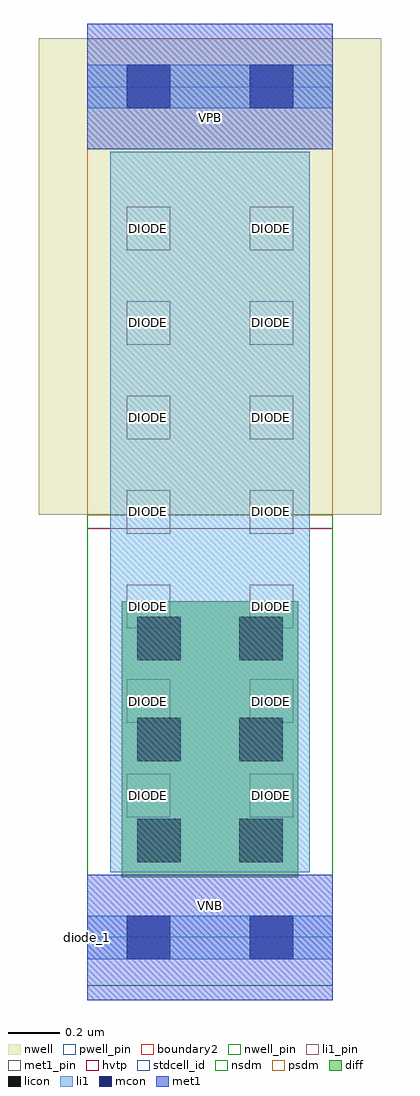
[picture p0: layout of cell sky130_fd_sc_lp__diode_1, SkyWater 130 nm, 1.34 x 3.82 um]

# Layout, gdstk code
import gdstk
lib = gdstk.Library(unit=1e-6, precision=1e-09)
def R(c, l, rs):  # rectangles x0, y0, x1, y1
    for r in rs: c.add(gdstk.rectangle(r[:2], r[2:], *l))
def A(c, l, x, y, w, h, nx, ny, dx, dy):  # array of equal rectangles
    R(c, l, [(x+i*dx, y+j*dy, x+i*dx+w, y+j*dy+h) for i in range(nx) for j in range(ny)])
nwell_pin = (64, 16)
nwell = (64, 20)
diff = (65, 20)
licon = (66, 44)
li1_pin = (67, 16)
li1 = (67, 20)
mcon = (67, 44)
met1_pin = (68, 16)
met1 = (68, 20)
hvtp = (78, 44)
stdcell_id = (81, 4)
nsdm = (93, 44)
psdm = (94, 20)
pwell_pin = (122, 16)
boundary2 = (236, 0)

sky130_fd_sc_lp__diode_1 = lib.new_cell('sky130_fd_sc_lp__diode_1')
R(sky130_fd_sc_lp__diode_1, nwell_pin, [(0,3.085,0.96,3.33)])
R(sky130_fd_sc_lp__diode_1, nwell, [(-0.19,1.655,1.15,3.52)])
R(sky130_fd_sc_lp__diode_1, diff, [(0.135,0.235,0.825,1.315)])
A(sky130_fd_sc_lp__diode_1, licon, 0.195, 0.295, 0.17, 0.17, 1, 3, 0, 0.395)
A(sky130_fd_sc_lp__diode_1, licon, 0.595, 0.295, 0.17, 0.17, 1, 3, 0, 0.395)
A(sky130_fd_sc_lp__diode_1, li1_pin, 0.155, 0.47, 0.17, 0.17, 1, 7, 0, 0.37)
A(sky130_fd_sc_lp__diode_1, li1_pin, 0.635, 0.47, 0.17, 0.17, 1, 7, 0, 0.37)
R(sky130_fd_sc_lp__diode_1, li1, [(0,-0.085,0.96,0.085), (0.09,0.255,0.87,3.075), (0,3.245,0.96,3.415)])
R(sky130_fd_sc_lp__diode_1, mcon, [(0.155,-0.085,0.325,0.085), (0.635,-0.085,0.805,0.085), (0.155,3.245,0.325,3.415), (0.635,3.245,0.805,3.415)])
R(sky130_fd_sc_lp__diode_1, met1_pin, [(0,0,0.96,0.245), (0,3.085,0.96,3.33)])
R(sky130_fd_sc_lp__diode_1, met1, [(0,-0.245,0.96,0.245), (0,3.085,0.96,3.575)])
R(sky130_fd_sc_lp__diode_1, hvtp, [(0,1.6,0.96,3.33)])
R(sky130_fd_sc_lp__diode_1, stdcell_id, [(0,0,0.96,3.33)])
R(sky130_fd_sc_lp__diode_1, nsdm, [(0,-0.19,0.96,1.655)])
R(sky130_fd_sc_lp__diode_1, psdm, [(0,1.655,0.96,3.52)])
R(sky130_fd_sc_lp__diode_1, pwell_pin, [(0,0,0.96,0.245)])
R(sky130_fd_sc_lp__diode_1, boundary2, [(0,0,0.96,3.33)])
sky130_fd_sc_lp__diode_1.add(gdstk.Label('VNB', (0.48,0.123), layer=64, texttype=59))
sky130_fd_sc_lp__diode_1.add(gdstk.Label('VPB', (0.48,3.208), layer=64, texttype=5))
sky130_fd_sc_lp__diode_1.add(gdstk.Label('DIODE', (0.72,2.775), layer=67, texttype=5))
sky130_fd_sc_lp__diode_1.add(gdstk.Label('DIODE', (0.24,0.925), layer=67, texttype=5))
sky130_fd_sc_lp__diode_1.add(gdstk.Label('DIODE', (0.72,0.925), layer=67, texttype=5))
sky130_fd_sc_lp__diode_1.add(gdstk.Label('DIODE', (0.24,0.555), layer=67, texttype=5))
sky130_fd_sc_lp__diode_1.add(gdstk.Label('DIODE', (0.72,2.405), layer=67, texttype=5))
sky130_fd_sc_lp__diode_1.add(gdstk.Label('DIODE', (0.72,1.295), layer=67, texttype=5))
sky130_fd_sc_lp__diode_1.add(gdstk.Label('DIODE', (0.72,2.035), layer=67, texttype=5))
sky130_fd_sc_lp__diode_1.add(gdstk.Label('DIODE', (0.24,2.035), layer=67, texttype=5))
sky130_fd_sc_lp__diode_1.add(gdstk.Label('DIODE', (0.24,2.405), layer=67, texttype=5))
sky130_fd_sc_lp__diode_1.add(gdstk.Label('DIODE', (0.24,2.775), layer=67, texttype=5))
sky130_fd_sc_lp__diode_1.add(gdstk.Label('DIODE', (0.72,0.555), layer=67, texttype=5))
sky130_fd_sc_lp__diode_1.add(gdstk.Label('DIODE', (0.24,1.665), layer=67, texttype=5))
sky130_fd_sc_lp__diode_1.add(gdstk.Label('DIODE', (0.72,1.665), layer=67, texttype=5))
sky130_fd_sc_lp__diode_1.add(gdstk.Label('DIODE', (0.24,1.295), layer=67, texttype=5))
sky130_fd_sc_lp__diode_1.add(gdstk.Label('diode_1', (0,0), layer=83, texttype=44))
sky130_fd_sc_lp__diode_1.add(gdstk.Label('VPWR', (0.48,3.208), layer=68, texttype=5))
sky130_fd_sc_lp__diode_1.add(gdstk.Label('VGND', (0.48,0.123), layer=68, texttype=5))

lib.write_gds('sky130_fd_sc_lp__diode_1.gds')
